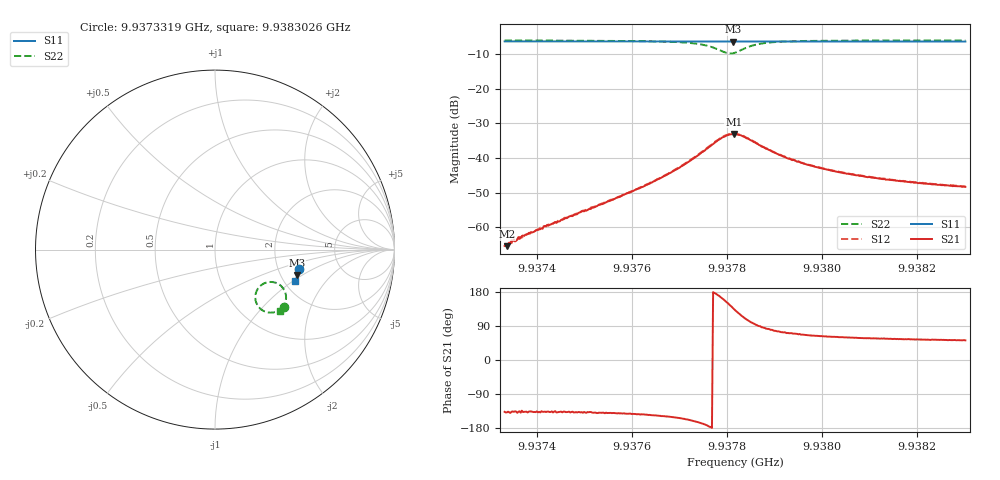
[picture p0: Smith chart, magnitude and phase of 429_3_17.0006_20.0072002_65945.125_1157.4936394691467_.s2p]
#  HZ  S  RI  R  50.00
! Rohde & Schwarz Vector Network Analyzer
! Rohde-Schwarz,ZNB20-2Port,1311601062101988,3.16
! Created: UTC 3/20/2024, 11:11:17 PM
! freq[Hz]  re:S11  im:S11  re:S21  im:S21  re:S12  im:S12  re:S22  im:S22
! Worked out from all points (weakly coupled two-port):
!   401 points, 9.9373319 GHz to 9.9383026 GHz, reference 50 ohm
!   highest |S21| = -33.06 dB at 9.9378149 GHz (marker M1); lowest = -65.4 dB at 9.9373368 GHz (marker M2)
!   lowest |S11| = -6.4 dB at 9.9378124 GHz (marker M3), VSWR 2.84, Z = 123 - j44.9 ohm
!   |S11| at or under -10 dB: nowhere
!   |S22| runs from -9.8 to -6.1 dB; largest |S21 - S12| = 0.00089
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9.93733193e9  0.4708 -0.1105  -0.000395 -0.000372  -0.000396 -0.000371  0.3821 -0.3189
9.93733679e9  0.4706 -0.1108  -0.0004 -0.000357  -0.000432 -0.000375  0.3816 -0.3193
9.93734649e9  0.4703 -0.1115  -0.000473 -0.000449  -0.000437 -0.000401  0.381 -0.3201
9.93735863e9  0.4699 -0.1125  -0.000507 -0.000432  -0.000511 -0.00045  0.3802 -0.321
9.93737319e9  0.4696 -0.1134  -0.00055 -0.000516  -0.000551 -0.00052  0.3787 -0.322
9.93741202e9  0.469 -0.1159  -0.000695 -0.00066  -0.000729 -0.000716  0.3753 -0.325
9.93749453e9  0.4671 -0.1215  -0.00125 -0.00115  -0.00131 -0.00113  0.3668 -0.3316
9.93759888e9  0.4647 -0.1284  -0.00258 -0.00199  -0.00265 -0.00199  0.3501 -0.342
9.93765712e9  0.4633 -0.1324  -0.00422 -0.00272  -0.00432 -0.00271  0.3334 -0.348
9.93771294e9  0.4616 -0.1362  -0.00755 -0.00332  -0.00776 -0.00331  0.3032 -0.3511
9.93775662e9  0.4598 -0.139  -0.0135 -0.00196  -0.0136 -0.00166  0.2579 -0.3334
9.93779059e9  0.4583 -0.1404  -0.0189 0.00608  -0.0191 0.00672  0.2242 -0.264
9.93781243e9  0.4576 -0.1409  -0.0163 0.0148  -0.0163 0.0157  0.2568 -0.1984
9.93781486e9  0.4577 -0.1408  -0.0157 0.0158  -0.0153 0.0165  0.2641 -0.1933
9.93781729e9  0.4578 -0.1408  -0.0147 0.0165  -0.0144 0.0172  0.2715 -0.189
9.93783427e9  0.458 -0.1416  -0.00832 0.0188  -0.00794 0.0194  0.3254 -0.1814
9.93787068e9  0.4582 -0.1441  0.00026 0.0152  0.001 0.0153  0.3856 -0.225
9.93792407e9  0.4574 -0.1482  0.00314 0.00972  0.00337 0.00984  0.3957 -0.2736
9.93797988e9  0.4561 -0.152  0.00335 0.00697  0.00347 0.00698  0.3901 -0.2982
9.93804783e9  0.4543 -0.1564  0.00304 0.00523  0.00317 0.00525  0.3825 -0.3143
9.93814247e9  0.4518 -0.1627  0.00271 0.00403  0.00285 0.00403  0.3734 -0.3276
9.93830264e9  0.4473 -0.1731  0.00238 0.00302  0.00244 0.00302  0.3609 -0.3421
